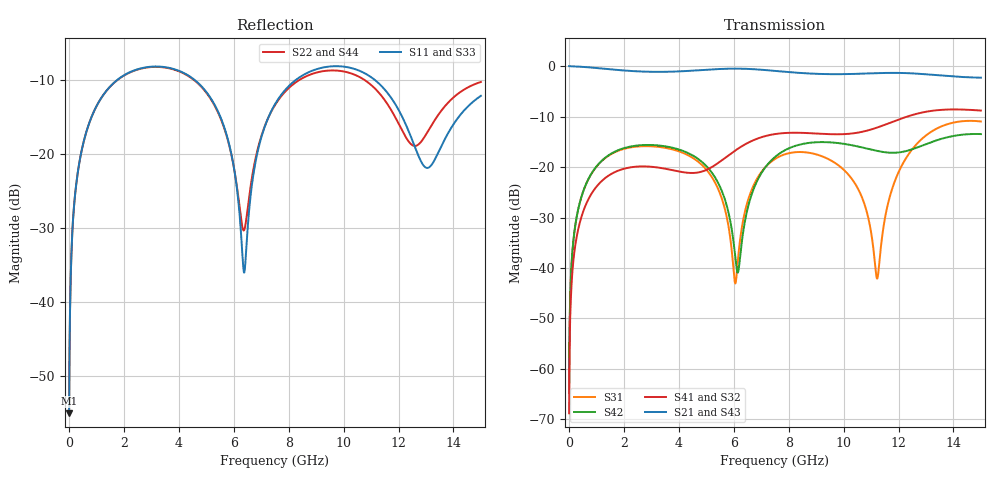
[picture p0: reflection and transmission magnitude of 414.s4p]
! Created with skrf 1.8.0 (http://scikit-rf.org).
# GHz S RI R 50.0
!freq ReS11 ImS11 ReS12 ImS12 ReS13 ImS13
! ReS14 ImS14
! ReS21 ImS21 ReS22 ImS22 ReS23 ImS23
! ReS24 ImS24
! ReS31 ImS31 ReS32 ImS32 ReS33 ImS33
! ReS34 ImS34
! ReS41 ImS41 ReS42 ImS42 ReS43 ImS43
! ReS44 ImS44
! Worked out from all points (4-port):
!   2499 points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, 5 MHz to 15 GHz, reference 50 ohm
!   strongest paths, dB at 5 MHz, 3.476 GHz, 7.19 GHz, 11.1 GHz, 15 GHz:
!     S21: 0.0, -1.1, -0.8, -1.4, -2.3
!     S43: 0.0, -1.1, -0.8, -1.4, -2.3
!     S41: -68.8, -20.3, -13.8, -12.4, -8.8
!     S32: -68.8, -20.3, -13.8, -12.4, -8.8
!     S42: -64.8, -15.9, -19.8, -16.7, -13.5
!     S31: -64.8, -16.2, -19.8, -36.8, -11.0
!   lowest |S11| = -55.1 dB at 5 MHz (marker M1), VSWR 1.00, Z = 50.1 + j0.107 ohm
!   |S11| at or under -10 dB: start of sweep to 1.742 GHz; 4.591 GHz to 8.245 GHz (3.654 GHz wide, 56.9 % of centre); 11.15 GHz to end of sweep
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0.005  0.00141 0.00107  0.9986 -0.00274  7.05e-05 0.000574  -6.85e-05 -0.000357
       0.9986 -0.00274  0.00141 0.00107  -6.85e-05 -0.000357  7.06e-05 0.000574
       7.05e-05 0.000574  -6.85e-05 -0.000357  0.00141 0.00107  0.9986 -0.00274
       -6.85e-05 -0.000357  7.06e-05 0.000574  0.9986 -0.00274  0.00141 0.00107
0.3626511  0.0233 0.0813  0.968 -0.1976  0.0109 0.0396  -0.0092 -0.0243
           0.968 -0.1976  0.0232 0.0813  -0.00921 -0.0243  0.0114 0.0395
           0.0109 0.0396  -0.00921 -0.0243  0.0233 0.0813  0.968 -0.1976
           -0.0092 -0.0243  0.0114 0.0395  0.968 -0.1976  0.0232 0.0813
1.619545  0.2372 0.1872  0.6183 -0.6859  0.1155 0.0757  -0.086 -0.0174
          0.6183 -0.6859  0.2353 0.1882  -0.0861 -0.0173  0.1216 0.0689
          0.1155 0.0757  -0.0861 -0.0173  0.2372 0.1872  0.6182 -0.6859
          -0.086 -0.0174  0.1216 0.0689  0.6182 -0.6859  0.2353 0.1882
6.402668  0.016 0.00448  -0.9391 -0.053  0.0123 0.0335  -0.00578 0.1671
          -0.9391 -0.053  0.0307 0.00732  -0.00322 0.1671  0.00189 0.0285
          0.0123 0.0335  -0.00322 0.1671  0.0191 0.00402  -0.9391 -0.0528
          -0.00578 0.1671  0.00189 0.0285  -0.9391 -0.0528  0.0277 0.00675
10.30429  0.3695 -0.0955  0.1643 0.8196  0.0677 -0.0348  0.202 -0.0738
          0.1643 0.8196  0.3432 -0.0708  0.2006 -0.0782  0.0437 -0.1586
          0.0677 -0.0348  0.2006 -0.0782  0.3694 -0.0994  0.1651 0.8189
          0.202 -0.0738  0.0437 -0.1586  0.1651 0.8189  0.3448 -0.0688
11.22343  0.2517 -0.1779  0.5028 0.6874  0.00643 0.00449  0.1967 -0.1482
          0.5028 0.6874  0.235 -0.1298  0.1931 -0.1526  -0.0777 -0.1219
          0.00643 0.00449  0.1931 -0.1526  0.2512 -0.1808  0.5034 0.6864
          0.1967 -0.1482  -0.0777 -0.1219  0.5034 0.6864  0.2363 -0.1294
15  0.2355 0.0782  0.4969 -0.5858  0.2818 0.0245  -0.321 -0.1689
    0.4969 -0.5858  0.3038 0.051  -0.3265 -0.1604  0.2014 0.0664
    0.2818 0.0245  -0.3265 -0.1604  0.2383 0.0754  0.4936 -0.587
    -0.321 -0.1689  0.2014 0.0664  0.4936 -0.587  0.3072 0.0566
